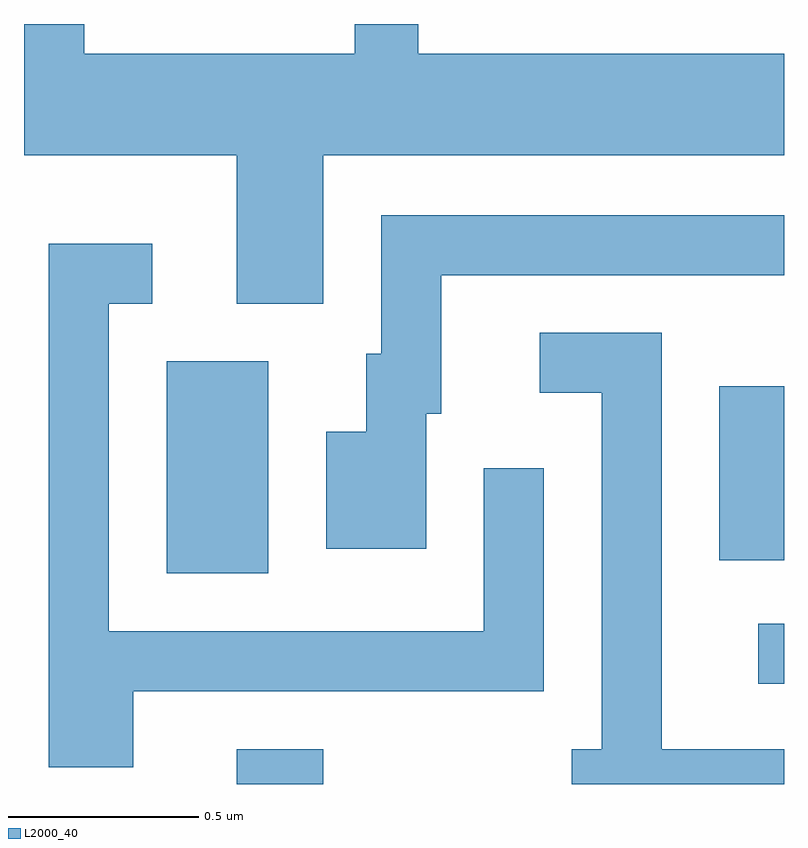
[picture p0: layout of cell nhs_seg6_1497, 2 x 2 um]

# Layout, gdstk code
import gdstk
lib = gdstk.Library(unit=1e-6, precision=1e-09)
def R(c, l, rs):  # rectangles x0, y0, x1, y1
    for r in rs: c.add(gdstk.rectangle(r[:2], r[2:], *l))
def P(c, l, *ps):  # polygons
    for p in ps: c.add(gdstk.Polygon(p, *l))
L2000_40 = (2000, 40)

nhs_seg6_1497 = lib.new_cell('nhs_seg6_1497')
R(nhs_seg6_1497, L2000_40, [(196.171,1657.162,196.399,1657.254), (197.543,1657.426,197.611,1657.584), (195.986,1657.716,196.254,1658.274), (197.441,1657.751,197.611,1658.209)])
P(nhs_seg6_1497, L2000_40, [(196.399,1658.816),(197.611,1658.816),(197.611,1659.084),(196.649,1659.084),(196.649,1659.162),(196.481,1659.162),(196.481,1659.084),(195.769,1659.084),(195.769,1659.162),(195.611,1659.162),(195.611,1658.816),(196.171,1658.816),(196.171,1658.426),(196.399,1658.426)],
  [(196.669,1658.136),(196.709,1658.136),(196.709,1658.501),(197.611,1658.501),(197.611,1658.659),(196.551,1658.659),(196.551,1658.294),(196.511,1658.294),(196.511,1658.089),(196.406,1658.089),(196.406,1657.781),(196.669,1657.781)],
  [(195.899,1657.406),(196.979,1657.406),(196.979,1657.993),(196.821,1657.993),(196.821,1657.564),(195.834,1657.564),(195.834,1658.426),(195.948,1658.426),(195.948,1658.584),(195.676,1658.584),(195.676,1657.206),(195.899,1657.206)],
  [(197.611,1657.254),(197.289,1657.254),(197.289,1658.349),(196.968,1658.349),(196.968,1658.191),(197.131,1658.191),(197.131,1657.254),(197.053,1657.254),(197.053,1657.162),(197.611,1657.162)])

lib.write_gds('nhs_seg6_1497.gds')
